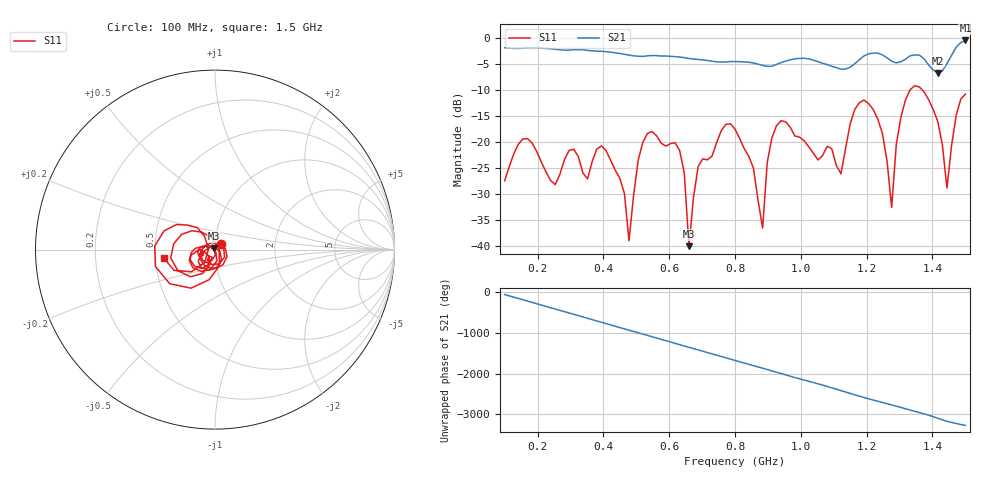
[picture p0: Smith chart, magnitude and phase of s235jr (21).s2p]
! NanoVNA-App
! Date: 2025-09-25 15:04:19
! Start: 100MHz Stop: 1,5GHz Points: 101
! S-Parameter data: F S11 S21 S12 S22
# Hz S RI R 50
!  Frequency  S11_Real  S11_Imag  S21_Real  S21_Imag  S12_Real  S12_Imag  S22_Real  S22_Imag
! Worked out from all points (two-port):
!   101 points, 100 MHz to 1.5 GHz, reference 50 ohm
!   highest |S21| = -0.56 dB at 1.5 GHz (marker M1); lowest = -6.8 dB at 1.416 GHz (marker M2)
!   |S21| within 3 dB of the highest: start of sweep to 501.6 MHz; 527.4 MHz to 594 MHz (66.51 MHz wide, 11.9 % of centre) (the widest 2 of 5)
!   lowest |S11| = -40.0 dB at 660 MHz (marker M3), VSWR 1.02, Z = 49.2 + j0.607 ohm
!   |S11| at or under -10 dB: start of sweep to 1.332 GHz; 1.368 GHz to end of sweep
!   S12 and S22 are empty: the file has one direction only
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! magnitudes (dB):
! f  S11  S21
! 100 MHz  -27.5  -2.0
! 156 MHz  -19.4  -2.0
! 338 MHz  -26.0  -2.4
! 408 MHz  -21.6  -2.7
! 478 MHz  -38.9  -3.4
! 520 MHz  -20.1  -3.6
! 576 MHz  -20.3  -3.5
! 632 MHz  -21.7  -3.7
! 660 MHz  -40.0  -4.0
! 688 MHz  -24.7  -4.2
! 800 MHz  -17.6  -4.6
! 884 MHz  -36.5  -5.3
! 926 MHz  -16.9  -5.2
! 1.038 GHz  -22.2  -4.3
! 1.122 GHz  -26.1  -6.1
! 1.192 GHz  -12.0  -3.5
! 1.248 GHz  -18.4  -3.3
! 1.276 GHz  -32.5  -4.5
! 1.332 GHz  -10.0  -3.5
! 1.416 GHz  -16.1  -6.8
! 1.444 GHz  -28.9  -5.0
! 1.5 GHz  -10.8  -0.6
